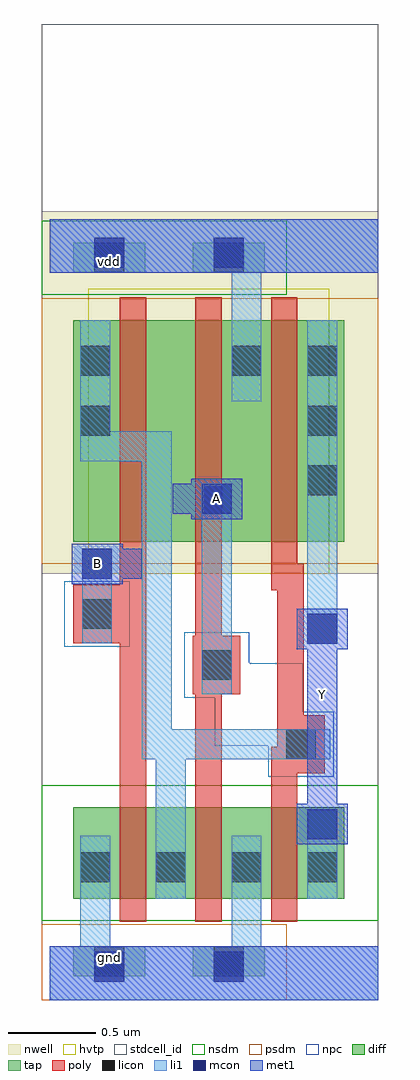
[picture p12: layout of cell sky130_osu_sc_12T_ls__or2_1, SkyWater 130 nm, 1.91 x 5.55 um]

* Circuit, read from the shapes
.subckt sky130_osu_sc_12T_ls__or2_1 A B Y gnd vdd
XM1 n1 B gnd gnd sky130_fd_pr__nfet_01v8 w=0.52 l=0.15
XM2 gnd A n1 gnd sky130_fd_pr__nfet_01v8 w=0.52 l=0.15
XM3 Y n1 gnd gnd sky130_fd_pr__nfet_01v8 w=0.52 l=0.15
XM4 n2 B n1 vdd sky130_fd_pr__pfet_01v8_hvt w=1.26 l=0.15
XM5 vdd A n2 vdd sky130_fd_pr__pfet_01v8_hvt w=1.26 l=0.15
XM6 Y n1 vdd vdd sky130_fd_pr__pfet_01v8_hvt w=1.26 l=0.15
.ends

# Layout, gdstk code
import gdstk
lib = gdstk.Library(unit=1e-6, precision=1e-09)
def R(c, l, rs):  # rectangles x0, y0, x1, y1
    for r in rs: c.add(gdstk.rectangle(r[:2], r[2:], *l))
def A(c, l, x, y, w, h, nx, ny, dx, dy):  # array of equal rectangles
    R(c, l, [(x+i*dx, y+j*dy, x+i*dx+w, y+j*dy+h) for i in range(nx) for j in range(ny)])
nwell = (64, 20)
diff = (65, 20)
tap = (65, 44)
poly = (66, 20)
licon = (66, 44)
li1 = (67, 20)
mcon = (67, 44)
met1 = (68, 20)
hvtp = (78, 44)
stdcell_id = (81, 4)
nsdm = (93, 44)
psdm = (94, 20)
npc = (95, 20)

sky130_osu_sc_12t_ls__or = lib.new_cell('sky130_osu_sc_12T_ls__or2_1')
R(sky130_osu_sc_12t_ls__or, nwell, [(-0.045,2.425,1.87,4.485)])
R(sky130_osu_sc_12t_ls__or, diff, [(0.135,0.575,1.675,1.095), (0.135,2.605,1.675,3.865)])
R(sky130_osu_sc_12t_ls__or, tap, [(0.135,0.135,0.545,0.305), (0.815,0.135,1.225,0.305), (0.135,4.135,0.545,4.305), (0.815,4.135,1.225,4.305)])
R(sky130_osu_sc_12t_ls__or, poly, [(0.4,0.445,0.55,2.03), (0.83,0.445,0.98,1.74), (1.26,0.445,1.41,1.29), (1.26,1.29,1.565,1.44), (1.295,1.44,1.565,1.62), (1.295,1.62,1.445,2.33), (0.815,1.74,1.085,2.07), (0.135,2.03,0.55,2.36), (0.83,2.07,0.98,3.995), (1.26,2.33,1.445,2.48), (0.4,2.36,0.55,3.995), (1.26,2.48,1.41,3.995)])
A(sky130_osu_sc_12t_ls__or, licon, 0.175, 0.67, 0.17, 0.17, 4, 1, 0.43, 0)
A(sky130_osu_sc_12t_ls__or, licon, 1.465, 2.87, 0.17, 0.17, 1, 3, 0, 0.34)
R(sky130_osu_sc_12t_ls__or, licon, [(0.255,0.135,0.425,0.305), (0.935,0.135,1.105,0.305), (1.345,1.37,1.515,1.54), (0.865,1.82,1.035,1.99), (0.185,2.11,0.355,2.28), (0.175,3.21,0.345,3.38), (0.175,3.55,0.345,3.72), (1.035,3.55,1.205,3.72), (0.255,4.135,0.425,4.305), (0.935,4.135,1.105,4.305)])
R(sky130_osu_sc_12t_ls__or, li1, [(0,0,1.87,0.305), (0.175,0.305,0.345,0.935), (1.035,0.305,1.205,0.935), (0.605,0.575,0.775,1.37), (1.465,0.575,1.635,1.085), (0.525,1.37,1.595,1.54), (0.525,1.54,0.695,3.065), (0.865,1.74,1.035,2.935), (1.465,2.025,1.635,3.865), (0.185,2.03,0.355,2.565), (0.175,3.065,0.695,3.235), (0.175,3.235,0.345,3.865), (1.035,3.405,1.205,4.135), (0,4.135,1.87,4.44)])
R(sky130_osu_sc_12t_ls__or, mcon, [(0.255,0.105,0.425,0.275), (0.935,0.105,1.105,0.275), (1.465,0.915,1.635,1.085), (1.465,2.025,1.635,2.195), (0.185,2.395,0.355,2.565), (0.865,2.765,1.035,2.935), (0.255,4.165,0.425,4.335), (0.935,4.165,1.105,4.335)])
R(sky130_osu_sc_12t_ls__or, met1, [(0,0,1.87,0.305), (1.405,0.885,1.695,1.115), (1.465,1.115,1.635,1.995), (1.405,1.995,1.695,2.225), (0.125,2.365,0.415,2.395), (0.125,2.395,0.525,2.565), (0.125,2.565,0.415,2.595), (0.805,2.735,1.095,2.765), (0.7,2.765,1.095,2.935), (0.805,2.935,1.095,2.965), (0,4.135,1.87,4.44)])
R(sky130_osu_sc_12t_ls__or, hvtp, [(0.22,2.425,1.59,4.045)])
R(sky130_osu_sc_12t_ls__or, stdcell_id, [(-0.045,0,1.87,5.55)])
R(sky130_osu_sc_12t_ls__or, nsdm, [(-0.045,0.45,1.87,1.22), (-0.045,4.01,1.35,4.43)])
R(sky130_osu_sc_12t_ls__or, psdm, [(-0.045,0,1.35,0.43), (-0.045,2.48,1.87,3.99)])
R(sky130_osu_sc_12t_ls__or, npc, [(1.245,1.27,1.615,1.445), (0.94,1.445,1.615,1.64), (0.94,1.64,1.44,1.72), (0.765,1.72,1.44,1.915), (0.765,1.915,1.135,2.09), (0.085,2.01,0.455,2.38)])
sky130_osu_sc_12t_ls__or.add(gdstk.Label('gnd', (0.34,0.24), layer=68, texttype=16))
sky130_osu_sc_12t_ls__or.add(gdstk.Label('vdd', (0.34,4.2), layer=68, texttype=16))
sky130_osu_sc_12t_ls__or.add(gdstk.Label('Y', (1.555,1.74), layer=68, texttype=5))
sky130_osu_sc_12t_ls__or.add(gdstk.Label('A', (0.95,2.85), layer=68, texttype=5))
sky130_osu_sc_12t_ls__or.add(gdstk.Label('B', (0.27,2.48), layer=68, texttype=5))

lib.write_gds('sky130_osu_sc_12T_ls__or2_1.gds')
